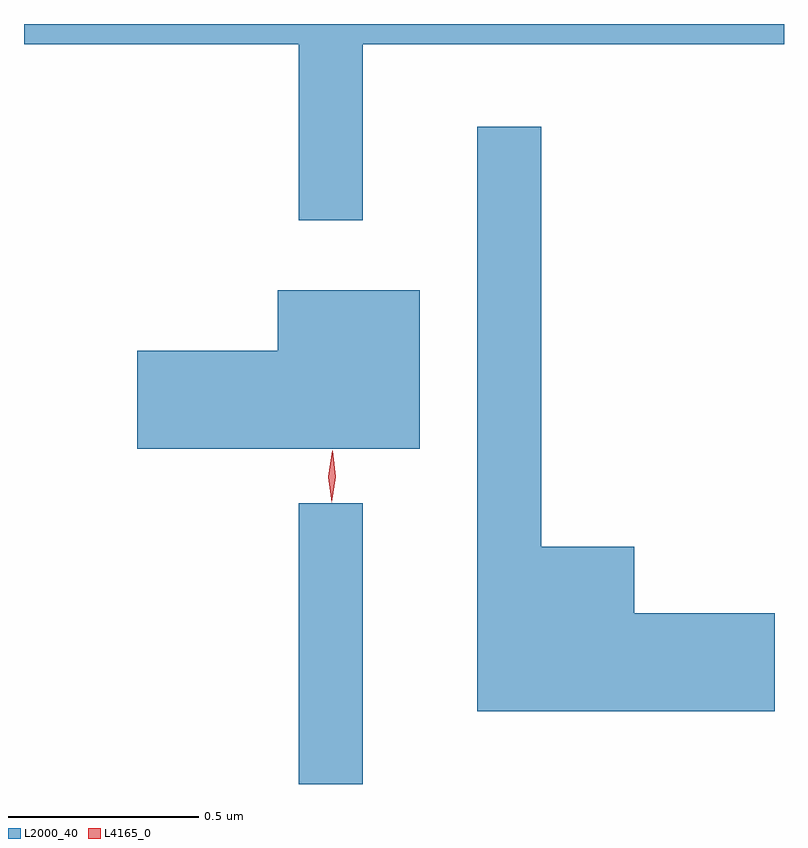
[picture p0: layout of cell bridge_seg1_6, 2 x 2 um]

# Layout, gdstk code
import gdstk
lib = gdstk.Library(unit=1e-6, precision=1e-09)
def R(c, l, rs):  # rectangles x0, y0, x1, y1
    for r in rs: c.add(gdstk.rectangle(r[:2], r[2:], *l))
def P(c, l, *ps):  # polygons
    for p in ps: c.add(gdstk.Polygon(p, *l))
L2000_40 = (2000, 40)
L4165_0 = (4165, 0)

bridge_seg1_6 = lib.new_cell('bridge_seg1_6')
R(bridge_seg1_6, L2000_40, [(1676.481,839.909,1676.649,840.648)])
P(bridge_seg1_6, L2000_40, [(1676.649,841.856),(1677.758,841.856),(1677.758,841.909),(1675.758,841.909),(1675.758,841.856),(1676.481,841.856),(1676.481,841.393),(1676.649,841.393)],
  [(1677.734,840.359),(1677.364,840.359),(1677.364,840.534),(1677.119,840.534),(1677.119,841.638),(1676.951,841.638),(1676.951,840.101),(1677.734,840.101)],
  [(1676.799,841.209),(1676.426,841.209),(1676.426,841.049),(1676.056,841.049),(1676.056,840.791),(1676.799,840.791)])
P(bridge_seg1_6, L4165_0, [(1676.568,840.65),(1676.568,840.65),(1676.559,840.718),(1676.569,840.786),(1676.569,840.786),(1676.57,840.786),(1676.579,840.718),(1676.568,840.65)],
  [(1676.568,840.653),(1676.568,840.653),(1676.559,840.716),(1676.569,840.779),(1676.57,840.78),(1676.57,840.779),(1676.579,840.716),(1676.568,840.653)])

lib.write_gds('bridge_seg1_6.gds')
